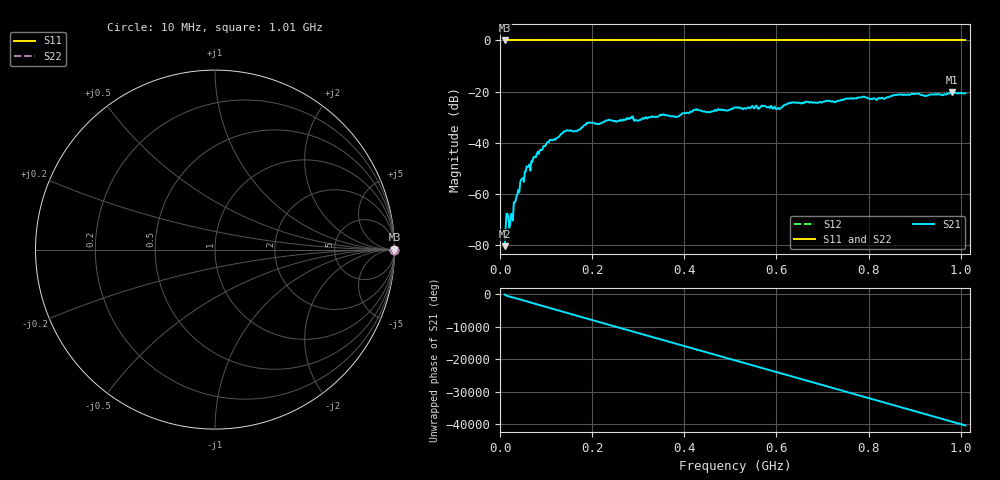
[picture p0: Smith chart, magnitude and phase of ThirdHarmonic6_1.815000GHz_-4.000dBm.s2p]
! 8/16/2025 9:59:16 PM
! C:\ANRITSUVNA\TEMP\TEMP.S2P
! CHANNEL.1
! TR.MEASUREMENT
! RAW.DATA
! RF.CORRECTION.OFF
! AVERAGING.OFF
! IF.BANDWIDTH: 5KHZ
! SWEEPTYPE:  FREQ.SWEEP(Linear)
! Reference Plane Port Info
! PORT:  PORT1  PORT2
! DISTANCE:  0  m  0  m
! TIME:  0  s  0  s
! PHASE.OFFSET:  0  deg.  0  deg.
! LOSS:  0  dB  0  dB
! REF.LOSS:  0  dB  0  dB
! REF.FREQ:  0  Hz  0  Hz
! Power Info
! POWER:  -20  dBm  -20  dBm
! EFF.POWER:  -20  dBm  -20  dBm
! SOURCE.ATTEN:  0  dB  0  dB
! TEST.ATTEN:  0  dB  0  dB
# GHZ S RI R 50.0
! FREQ.GHZ  S11RE  S11IM  S21RE  S21IM  S12RE  S12IM  S22RE  S22IM
!; PortSelection: Port_12
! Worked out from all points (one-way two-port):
!   501 points, 10 MHz to 1.01 GHz, reference 50 ohm
!   highest |S21| = -20.25 dB at 980 MHz (marker M1); lowest = -80.4 dB at 10 MHz (marker M2)
!   lowest |S11| = 0.0 dB at 10 MHz (marker M3)
!   |S11| at or under -10 dB: nowhere
!   |S22| runs from 0.0 to 0.0 dB; largest |S21 - S12| = 1.1
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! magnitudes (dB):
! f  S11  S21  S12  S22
! 10 MHz  0.0  -80.4  0.0  0.0
! 16 MHz  0.0  -67.7  0.0  0.0
! 24 MHz  0.0  -67.8  0.0  0.0
! 34 MHz  0.0  -62.5  0.0  0.0
! 44 MHz  0.0  -55.3  0.0  0.0
! 58 MHz  0.0  -49.2  0.0  0.0
! 72 MHz  0.0  -46.0  0.0  0.0
! 106 MHz  0.0  -39.7  0.0  0.0
! 142 MHz  0.0  -35.5  0.0  0.0
! 178 MHz  0.0  -33.9  0.0  0.0
! 192 MHz  0.0  -32.1  0.0  0.0
! 344 MHz  0.0  -29.7  0.0  0.0
! 384 MHz  0.0  -29.9  0.0  0.0
! 424 MHz  0.0  -27.2  0.0  0.0
! 452 MHz  0.0  -27.9  0.0  0.0
! 510 MHz  0.0  -26.2  0.0  0.0
! 604 MHz  0.0  -26.4  0.0  0.0
! 630 MHz  0.0  -24.5  0.0  0.0
! 678 MHz  0.0  -24.3  0.0  0.0
! 844 MHz  0.0  -22.2  0.0  0.0
! 980 MHz  0.0  -20.2  0.0  0.0
! 1.01 GHz  0.0  -20.6  0.0  0.0
